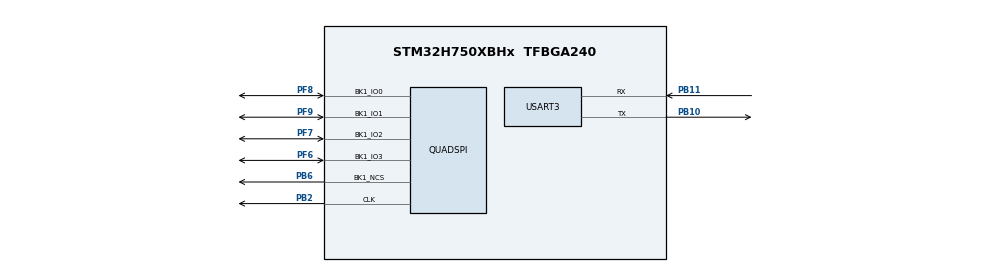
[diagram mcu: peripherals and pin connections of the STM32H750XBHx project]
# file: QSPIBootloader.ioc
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CORTEX_M7.AccessPermission_S-Cortex_Memory_Protection_Unit_Region1_Settings_S=MPU_REGION_FULL_ACCESS
CORTEX_M7.BaseAddress_S-Cortex_Memory_Protection_Unit_Region1_Settings_S=0x90000000
CORTEX_M7.Enable_S-Cortex_Memory_Protection_Unit_Region1_Settings_S=MPU_REGION_ENABLE
CORTEX_M7.IsCacheable_S-Cortex_Memory_Protection_Unit_Region1_Settings_S=MPU_ACCESS_CACHEABLE
CORTEX_M7.Size_S-Cortex_Memory_Protection_Unit_Region1_Settings_S=MPU_REGION_SIZE_8MB
CORTEX_M7.Size_Spec=MPU_REGION_SIZE_512KB
CORTEX_M7.default_mode_Activation=1
Mcu.Family=STM32H7
Mcu.Name=STM32H750XBHx
Mcu.Package=TFBGA240
NVIC.PriorityGroup=NVIC_PRIORITYGROUP_4
PB10.Mode=Asynchronous
PB10.Signal=USART3_TX
PB11.Mode=Asynchronous
PB11.Signal=USART3_RX
PB2.Mode=Single Bank 1
PB2.Signal=QUADSPI_CLK
PB6.Mode=Single Bank 1
PB6.Signal=QUADSPI_BK1_NCS
PF6.Mode=Single Bank 1
PF6.Signal=QUADSPI_BK1_IO3
PF7.Mode=Single Bank 1
PF7.Signal=QUADSPI_BK1_IO2
PF8.Mode=Single Bank 1
PF8.Signal=QUADSPI_BK1_IO0
PF9.Mode=Single Bank 1
PF9.Signal=QUADSPI_BK1_IO1
ProjectManager.HeapSize=0x200
ProjectManager.StackSize=0x400
ProjectManager.TargetToolchain=MDK-ARM V5.32
QUADSPI.ChipSelectHighTime=QSPI_CS_HIGH_TIME_3_CYCLE
QUADSPI.ClockPrescaler=2
QUADSPI.FifoThreshold=4
QUADSPI.FlashSize=23
RCC.ADCFreq_Value=129000000
RCC.APB1Freq_Value=32000000
RCC.APB2Freq_Value=64000000
RCC.APB3Freq_Value=64000000
RCC.APB4Freq_Value=64000000
RCC.CortexFreq_Value=64000000
RCC.D2PPRE1=RCC_APB1_DIV2
RCC.HCLKFreq_Value=64000000
RCC.SYSCLKFreq_VALUE=64000000
RCC.USBFreq_Value=129000000
USART3.VirtualMode-Asynchronous=VM_ASYNC
VP_MEMORYMAP_VS_MEMORYMAP.Mode=CurAppReg
board=custom

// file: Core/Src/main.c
/* USER CODE BEGIN Header */
/**
  ******************************************************************************
  * @file           : main.c
  * @brief          : Main program body
  ******************************************************************************
  * @attention
  *
  * Copyright (c) 2026 STMicroelectronics.
  * All rights reserved.
  *
  * This software is licensed under terms that can be found in the LICENSE file
  * in the root directory of this software component.
  * If no LICENSE file comes with this software, it is provided AS-IS.
  *
  ******************************************************************************
  */
/* USER CODE END Header */
#include "main.h"
#include "quadspi.h"
#include "usart.h"
#include "gpio.h"

/* USER CODE BEGIN Includes */
#include <stdio.h>
#include "QSPI/qspi.h"
#include "DELAY/delay.h"

/* USER CODE END Includes */

void SystemClock_Config(void);
static void MPU_Config(void);

/* USER CODE BEGIN 0 */

/* App 起始地址 */
#define APP_ADDR        0x90000000

/* 跳转函数 */
typedef void (*pFunction)(void);

/**
 * @brief  跳转到 App
 * @param  addr App 起始地址
 */
static void JumpToApp(uint32_t addr)
{
    pFunction Jump_To_App;
    uint32_t stack_top;

    printf("Bootloader: checking App at 0x%08X...\r\n", addr);

	  printf("0x90000000 = 0x%08X\r\n", *(uint32_t *)0x90000000);
    printf("0x90000004 = 0x%08X\r\n", *(uint32_t *)0x90000004);

    stack_top = *(__IO uint32_t *)addr;
    if ((stack_top & 0xFF000000) != 0x20000000 &&
        (stack_top & 0xFF000000) != 0x24000000) {
        printf("App stack invalid: 0x%08X\r\n", stack_top);
        while (1);
    }
    printf("App stack top = 0x%08X, OK\r\n");
    printf("Jumping to App...\r\n");

    Jump_To_App = (pFunction)(*(__IO uint32_t *)(addr + 4));

    __disable_irq();
    SysTick->CTRL = 0;
    SysTick->LOAD = 0;
    SysTick->VAL  = 0;
    for (int i = 0; i < 8; i++) {
        NVIC->ICER[i] =0xFFFFFFFF;
        NVIC->ICPR[i] = 0xFFFFFFFF;
    }

    /* 禁止调用 HAL_DeInit()/HAL_RCC_DeInit()：会复位 QSPI，破坏内存映射 */
    SCB->VTOR = addr;
    __DSB();
    __ISB();
    __set_MSP(stack_top);
    Jump_To_App();

    while (1);
}
/* USER CODE END 0 */

int main(void)
{

  /* MPU Configuration--------------------------------------------------------*/
  MPU_Config();

  /* MCU Configuration--------------------------------------------------------*/

  /* Reset of all peripherals, Initializes the Flash interface and the Systick. */
  HAL_Init();

  /* Configure the system clock */
  SystemClock_Config();

  /* USER CODE BEGIN SysInit */
//		MPU_Config();
//    SCB_EnableICache();
//    SCB_EnableDCache();

  /* USER CODE END SysInit */

  /* Initialize all configured peripherals */
  MX_GPIO_Init();
  MX_QUADSPI_Init();
  MX_USART3_UART_Init();
  /* USER CODE BEGIN 2 */
	DWT_Init();
  if (W25QXX_ReadID() != 0xEF40) {
      printf("Flash not detected!\r\n");
      while (1);
  }

  /* 进入内存映射模式 */
  W25QXX_EnableMemoryMapped();
  printf("Memory mapped OK\r\n");

  /* 跳转到 App */
  JumpToApp(0x90000000);
  /* USER CODE END 2 */

  /* Infinite loop */
  while (1)
  {

  }
}

void SystemClock_Config(void)
{
  RCC_OscInitTypeDef RCC_OscInitStruct = {0};
  RCC_ClkInitTypeDef RCC_ClkInitStruct = {0};

  /** Supply configuration update enable
  */
  HAL_PWREx_ConfigSupply(PWR_LDO_SUPPLY);

  /** Configure the main internal regulator output voltage
  */
  __HAL_PWR_VOLTAGESCALING_CONFIG(PWR_REGULATOR_VOLTAGE_SCALE1);

  while(!__HAL_PWR_GET_FLAG(PWR_FLAG_VOSRDY)) {}

  /** Initializes the RCC Oscillators according to the specified parameters
  * in the RCC_OscInitTypeDef structure.
  */
  RCC_OscInitStruct.OscillatorType = RCC_OSCILLATORTYPE_CSI|RCC_OSCILLATORTYPE_HSE;
  RCC_OscInitStruct.HSEState = RCC_HSE_ON;
  RCC_OscInitStruct.CSIState = RCC_CSI_ON;
  RCC_OscInitStruct.CSICalibrationValue = RCC_CSICALIBRATION_DEFAULT;
  RCC_OscInitStruct.PLL.PLLState = RCC_PLL_ON;
  RCC_OscInitStruct.PLL.PLLSource = RCC_PLLSOURCE_HSE;
  RCC_OscInitStruct.PLL.PLLM = 5;
  RCC_OscInitStruct.PLL.PLLN = 160;
  RCC_OscInitStruct.PLL.PLLP = 2;
  RCC_OscInitStruct.PLL.PLLQ = 2;
  RCC_OscInitStruct.PLL.PLLR = 2;
  RCC_OscInitStruct.PLL.PLLRGE = RCC_PLL1VCIRANGE_2;
  RCC_OscInitStruct.PLL.PLLVCOSEL = RCC_PLL1VCOWIDE;
  RCC_OscInitStruct.PLL.PLLFRACN = 0;
  if (HAL_RCC_OscConfig(&RCC_OscInitStruct) != HAL_OK)
  {
    Error_Handler();
  }

  /** Initializes the CPU, AHB and APB buses clocks
  */
  RCC_ClkInitStruct.ClockType = RCC_CLOCKTYPE_HCLK|RCC_CLOCKTYPE_SYSCLK
                              |RCC_CLOCKTYPE_PCLK1|RCC_CLOCKTYPE_PCLK2
                              |RCC_CLOCKTYPE_D3PCLK1|RCC_CLOCKTYPE_D1PCLK1;
  RCC_ClkInitStruct.SYSCLKSource = RCC_SYSCLKSOURCE_PLLCLK;
  RCC_ClkInitStruct.SYSCLKDivider = RCC_SYSCLK_DIV1;
  RCC_ClkInitStruct.AHBCLKDivider = RCC_HCLK_DIV2;
  RCC_ClkInitStruct.APB3CLKDivider = RCC_APB3_DIV2;
  RCC_ClkInitStruct.APB1CLKDivider = RCC_APB1_DIV2;
  RCC_ClkInitStruct.APB2CLKDivider = RCC_APB2_DIV2;
  RCC_ClkInitStruct.APB4CLKDivider = RCC_APB4_DIV2;

  if (HAL_RCC_ClockConfig(&RCC_ClkInitStruct, FLASH_LATENCY_2) != HAL_OK)
  {
    Error_Handler();
  }
}

 /* MPU Configuration */

void MPU_Config(void)
{
  MPU_Region_InitTypeDef MPU_InitStruct = {0};

  /* Disables the MPU */
  HAL_MPU_Disable();

  /** Initializes and configures the Region and the memory to be protected
  */
  MPU_InitStruct.Enable = MPU_REGION_ENABLE;
  MPU_InitStruct.Number = MPU_REGION_NUMBER0;
  MPU_InitStruct.BaseAddress = 0x0;
  MPU_InitStruct.Size = MPU_REGION_SIZE_512KB;
  MPU_InitStruct.SubRegionDisable = 0x87;
  MPU_InitStruct.TypeExtField = MPU_TEX_LEVEL0;
  MPU_InitStruct.AccessPermission = MPU_REGION_NO_ACCESS;
  MPU_InitStruct.DisableExec = MPU_INSTRUCTION_ACCESS_DISABLE;
  MPU_InitStruct.IsShareable = MPU_ACCESS_SHAREABLE;
  MPU_InitStruct.IsCacheable = MPU_ACCESS_NOT_CACHEABLE;
  MPU_InitStruct.IsBufferable = MPU_ACCESS_NOT_BUFFERABLE;

  HAL_MPU_ConfigRegion(&MPU_InitStruct);

  /** Initializes and configures the Region and the memory to be protected
  */
  MPU_InitStruct.Number = MPU_REGION_NUMBER1;
  MPU_InitStruct.BaseAddress = 0x90000000;
  MPU_InitStruct.Size = MPU_REGION_SIZE_8MB;
  MPU_InitStruct.SubRegionDisable = 0x0;
  MPU_InitStruct.AccessPermission = MPU_REGION_FULL_ACCESS;
  MPU_InitStruct.DisableExec = MPU_INSTRUCTION_ACCESS_ENABLE;
  MPU_InitStruct.IsShareable = MPU_ACCESS_NOT_SHAREABLE;
  MPU_InitStruct.IsCacheable = MPU_ACCESS_CACHEABLE;

  HAL_MPU_ConfigRegion(&MPU_InitStruct);
  /* Enables the MPU */
  HAL_MPU_Enable(MPU_PRIVILEGED_DEFAULT);

}

void Error_Handler(void)
{
  __disable_irq();
  while (1)
  {
  }
}
